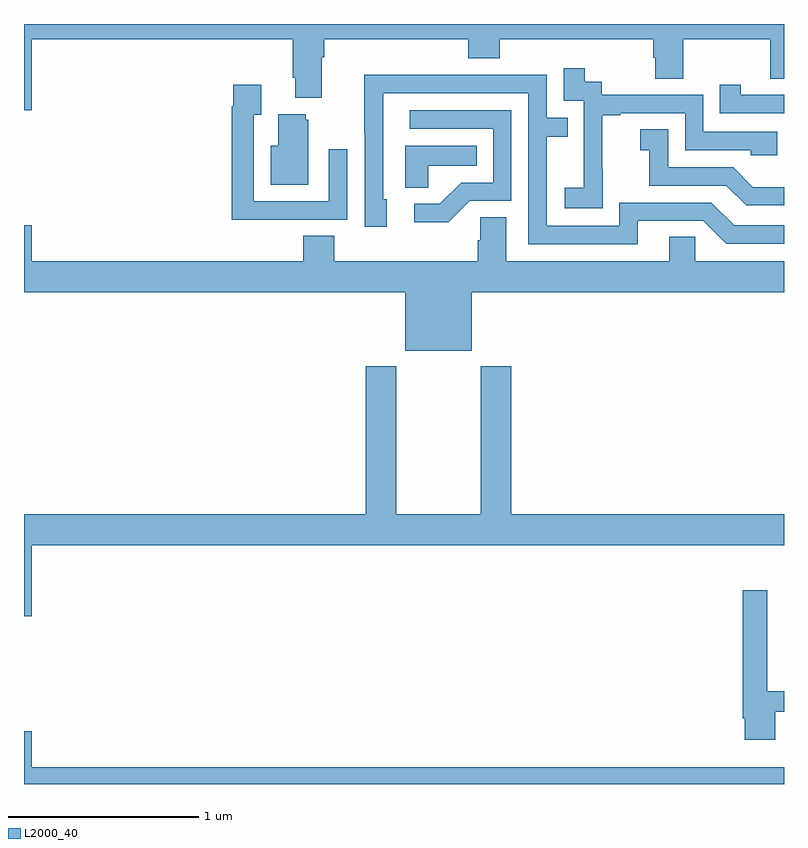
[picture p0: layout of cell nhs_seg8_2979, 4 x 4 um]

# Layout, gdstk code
import gdstk
lib = gdstk.Library(unit=1e-6, precision=1e-09)
def P(c, l, *ps):  # polygons
    for p in ps: c.add(gdstk.Polygon(p, *l))
L2000_40 = (2000, 40)

nhs_seg8_2979 = lib.new_cell('nhs_seg8_2979')
P(nhs_seg8_2979, L2000_40, [(297.04,1129.82),(298.415,1129.82),(298.415,1129.618),(298.427,1129.618),(298.427,1129.511),(298.567,1129.511),(298.567,1129.724),(298.58,1129.724),(298.58,1129.82),(299.339,1129.82),(299.339,1129.721),(299.504,1129.721),(299.504,1129.82),(300.311,1129.82),(300.311,1129.722),(300.323,1129.722),(300.323,1129.612),(300.471,1129.612),(300.471,1129.82),(300.928,1129.82),(300.928,1129.612),(301,1129.612),(301,1129.9),(297,1129.9),(297,1129.446),(297.04,1129.446)],
  [(300.045,1129.135),(300.044,1129.135),(300.044,1129.419),(300.139,1129.419),(300.139,1129.431),(300.48,1129.431),(300.48,1129.236),(300.825,1129.236),(300.825,1129.209),(300.965,1129.209),(300.965,1129.332),(300.576,1129.332),(300.576,1129.527),(300.042,1129.527),(300.042,1129.596),(299.95,1129.596),(299.95,1129.666),(299.841,1129.666),(299.841,1129.497),(299.946,1129.497),(299.946,1129.268),(299.945,1129.268),(299.945,1129.039),(299.847,1129.039),(299.847,1128.929),(300.045,1128.929)],
  [(300.229,1128.864),(300.576,1128.864),(300.696,1128.744),(301,1128.744),(301,1128.84),(300.738,1128.84),(300.618,1128.96),(300.132,1128.96),(300.132,1128.837),(299.751,1128.837),(299.751,1129.306),(299.861,1129.306),(299.861,1129.407),(299.751,1129.407),(299.751,1129.632),(299.255,1129.632),(299.255,1129.634),(298.792,1129.634),(298.792,1129.327),(298.794,1129.327),(298.794,1128.834),(298.909,1128.834),(298.909,1128.978),(298.89,1128.978),(298.89,1129.536),(299.655,1129.536),(299.655,1128.741),(300.229,1128.741)],
  [(298.385,1128.87),(298.701,1128.87),(298.701,1129.24),(298.605,1129.24),(298.605,1128.966),(298.209,1128.966),(298.209,1129.423),(298.249,1129.423),(298.249,1129.579),(298.101,1129.579),(298.101,1129.466),(298.093,1129.466),(298.093,1128.869),(298.385,1128.869)],
  [(301,1129.527),(300.772,1129.527),(300.772,1129.579),(300.661,1129.579),(300.661,1129.431),(301,1129.431)],
  [(299.346,1128.969),(299.565,1128.969),(299.565,1129.446),(299.031,1129.446),(299.031,1129.35),(299.469,1129.35),(299.469,1129.065),(299.3,1129.065),(299.189,1128.954),(299.055,1128.954),(299.055,1128.857),(299.233,1128.857)],
  [(298.495,1129.395),(298.484,1129.395),(298.484,1129.426),(298.337,1129.426),(298.337,1129.258),(298.298,1129.258),(298.298,1129.055),(298.495,1129.055)],
  [(301,1129.042),(300.836,1129.042),(300.732,1129.146),(300.39,1129.146),(300.39,1129.345),(300.243,1129.345),(300.243,1129.235),(300.292,1129.235),(300.292,1129.05),(300.695,1129.05),(300.8,1128.945),(301,1128.945)],
  [(299.127,1129.154),(299.384,1129.154),(299.384,1129.258),(299.006,1129.258),(299.006,1129.039),(299.127,1129.039)],
  [(299.356,1128.488),(301,1128.488),(301,1128.652),(300.534,1128.652),(300.534,1128.779),(300.395,1128.779),(300.395,1128.652),(299.539,1128.652),(299.539,1128.884),(299.4,1128.884),(299.4,1128.761),(299.387,1128.761),(299.387,1128.652),(298.634,1128.652),(298.634,1128.785),(298.469,1128.785),(298.469,1128.652),(297.04,1128.652),(297.04,1128.841),(297,1128.841),(297,1128.488),(299.006,1128.488),(299.006,1128.179),(299.356,1128.179)],
  [(297.04,1127.156),(301,1127.156),(301,1127.32),(299.564,1127.32),(299.564,1128.1),(299.404,1128.1),(299.404,1127.32),(298.959,1127.32),(298.959,1128.1),(298.799,1128.1),(298.799,1127.32),(297,1127.32),(297,1126.782),(297.04,1126.782)],
  [(300.955,1126.281),(301,1126.281),(301,1126.389),(300.913,1126.389),(300.913,1126.921),(300.782,1126.921),(300.782,1126.246),(300.794,1126.246),(300.794,1126.134),(300.955,1126.134)],
  [(301,1125.988),(297.04,1125.988),(297.04,1126.177),(297,1126.177),(297,1125.9),(301,1125.9)])

lib.write_gds('nhs_seg8_2979.gds')
